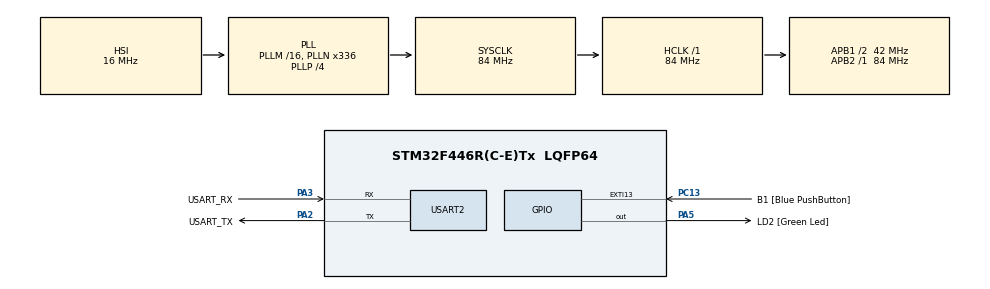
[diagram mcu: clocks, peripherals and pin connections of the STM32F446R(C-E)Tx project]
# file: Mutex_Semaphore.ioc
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FREERTOS.BinarySemaphores01=myBinarySem01,Dynamic,NULL
FREERTOS.Mutexes01=myMutex01,Dynamic,NULL
FREERTOS.Tasks01=defaultTask,0,128,StartDefaultTask,Default,NULL,Dynamic,NULL,NULL
Mcu.Family=STM32F4
Mcu.Name=STM32F446R(C-E)Tx
Mcu.Package=LQFP64
NVIC.PriorityGroup=NVIC_PRIORITYGROUP_4
NVIC.TIM6_DAC_IRQn=true\:15\:0\:false\:false\:true\:false\:false\:true\:true
NVIC.TimeBase=TIM6_DAC_IRQn
NVIC.TimeBaseIP=TIM6
PA13.GPIO_Label=TMS
PA13.Mode=Serial_Wire
PA13.Signal=SYS_JTMS-SWDIO
PA14.GPIO_Label=TCK
PA14.Mode=Serial_Wire
PA14.Signal=SYS_JTCK-SWCLK
PA2.GPIO_Label=USART_TX
PA2.Mode=Asynchronous
PA2.Signal=USART2_TX
PA3.GPIO_Label=USART_RX
PA3.Mode=Asynchronous
PA3.Signal=USART2_RX
PA5.GPIO_Label=LD2 [Green Led]
PA5.Signal=GPIO_Output
PB3.GPIO_Label=SWO
PB3.Signal=SYS_JTDO-SWO
PC13.GPIO_Label=B1 [Blue PushButton]
PC13.GPIO_ModeDefaultEXTI=GPIO_MODE_IT_FALLING
PC13.Signal=GPXTI13
PC14-OSC32_IN.Mode=LSE-External-Oscillator
PC14-OSC32_IN.Signal=RCC_OSC32_IN
PC15-OSC32_OUT.Mode=LSE-External-Oscillator
PC15-OSC32_OUT.Signal=RCC_OSC32_OUT
PH0-OSC_IN.Mode=HSE-External-Oscillator
PH0-OSC_IN.Signal=RCC_OSC_IN
PH1-OSC_OUT.Mode=HSE-External-Oscillator
PH1-OSC_OUT.Signal=RCC_OSC_OUT
ProjectManager.HeapSize=0x200
ProjectManager.StackSize=0x400
ProjectManager.TargetToolchain=STM32CubeIDE
RCC.48MHZClocksFreq_Value=84000000
RCC.AHBFreq_Value=84000000
RCC.APB1CLKDivider=RCC_HCLK_DIV2
RCC.APB1Freq_Value=42000000
RCC.APB1TimFreq_Value=84000000
RCC.APB2Freq_Value=84000000
RCC.APB2TimFreq_Value=84000000
RCC.CortexFreq_Value=84000000
RCC.FLatency-AdvancedSettings=FLASH_LATENCY_2
RCC.HCLKFreq_Value=84000000
RCC.HSE_VALUE=8000000
RCC.HSI_VALUE=16000000
RCC.PLLN=336
RCC.PLLP=RCC_PLLP_DIV4
RCC.SYSCLKFreq_VALUE=84000000
RCC.SYSCLKSource=RCC_SYSCLKSOURCE_PLLCLK
RCC.USBFreq_Value=168000000
RCC.VCOOutputFreq_Value=336000000
USART2.VirtualMode=VM_ASYNC
VP_FREERTOS_VS_CMSIS_V1.Mode=CMSIS_V1
VP_SYS_VS_tim6.Mode=TIM6
board=NUCLEO-F446RE

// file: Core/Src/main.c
/* USER CODE BEGIN Header */
/**
  ******************************************************************************
  * @file           : main.c
  * @brief          : Main program body
  ******************************************************************************
  * @attention
  *
  * Copyright (c) 2022 STMicroelectronics.
  * All rights reserved.
  *
  * This software is licensed under terms that can be found in the LICENSE file
  * in the root directory of this software component.
  * If no LICENSE file comes with this software, it is provided AS-IS.
  *
  ******************************************************************************
  */
/* USER CODE END Header */
#include "main.h"
#include "string.h"
#include "stdio.h"
#include "cmsis_os.h"

UART_HandleTypeDef huart2;

SemaphoreHandle_t SimpleMutex;
SemaphoreHandle_t BinSemaphore;
/* USER CODE BEGIN PV */
TaskHandle_t HPT_Handler;
TaskHandle_t MPT_Handler;
TaskHandle_t LPT_Handler;
TaskHandle_t LLPT_Handler;
/* USER CODE END PV */

void SystemClock_Config(void);
static void MX_GPIO_Init(void);
static void MX_USART2_UART_Init(void);
void HPT_Task(void *argument);
void MPT_Task(void *argument);
void LPT_Task(void *argument);
//void LLPT_Task(void *argument);

/* USER CODE BEGIN 0 */
//void send_uart(char *str)
//{
//	xSemaphoreTake(BinSemaphore, portMAX_DELAY);
//	HAL_Delay(1000);
//	HAL_UART_Transmit(&huart2, (uint8_t *)str, strlen(str), 1000);
//
//	xSemaphoreGive(BinSemaphore);
//}
/* USER CODE END 0 */

int main(void)
{

  /* MCU Configuration--------------------------------------------------------*/

  /* Reset of all peripherals, Initializes the Flash interface and the Systick. */
  HAL_Init();

  /* Configure the system clock */
  SystemClock_Config();

  /* Initialize all configured peripherals */
  MX_GPIO_Init();
  MX_USART2_UART_Init();

  /* Create the mutex(es) */
  /* definition and creation of myMutex01 */

  /* Create the semaphores(s) */
  /* definition and creation of myBinarySem01 */
   SimpleMutex = xSemaphoreCreateMutex();
   if(SimpleMutex != NULL)
   {
	   HAL_UART_Transmit(&huart2, "Mutex Created\n", 16, 1000);
   }
//   BinSemaphore = xSemaphoreCreateBinary();
//   if(BinSemaphore != NULL)
//   {
//	   HAL_UART_Transmit(&huart2, "BinSem Created\n", 16, 1000);
//   }

   xSemaphoreTake(SimpleMutex,1000);

   xTaskCreate(HPT_Task, "HPT", 128, NULL, 3, &HPT_Handler);
   xTaskCreate(MPT_Task, "MPT", 128, NULL, 2, &MPT_Handler);
   xTaskCreate(LPT_Task, "LPT", 128, NULL, 1, &LPT_Handler);
//   xTaskCreate(LLPT_Task, "LLPT", 128, NULL, 1, &LLPT_Handler);

  /* Create the thread(s) */
  /* definition and creation of defaultTask */

  /* Start scheduler */
  vTaskStartScheduler();
  /* We should never get here as control is now taken by the scheduler */
  /* Infinite loop */
  while (1)
  {

  }
}

void SystemClock_Config(void)
{
  RCC_OscInitTypeDef RCC_OscInitStruct = {0};
  RCC_ClkInitTypeDef RCC_ClkInitStruct = {0};

  /** Configure the main internal regulator output voltage
  */
  __HAL_RCC_PWR_CLK_ENABLE();
  __HAL_PWR_VOLTAGESCALING_CONFIG(PWR_REGULATOR_VOLTAGE_SCALE3);

  /** Initializes the RCC Oscillators according to the specified parameters
  * in the RCC_OscInitTypeDef structure.
  */
  RCC_OscInitStruct.OscillatorType = RCC_OSCILLATORTYPE_HSI;
  RCC_OscInitStruct.HSIState = RCC_HSI_ON;
  RCC_OscInitStruct.HSICalibrationValue = RCC_HSICALIBRATION_DEFAULT;
  RCC_OscInitStruct.PLL.PLLState = RCC_PLL_ON;
  RCC_OscInitStruct.PLL.PLLSource = RCC_PLLSOURCE_HSI;
  RCC_OscInitStruct.PLL.PLLM = 16;
  RCC_OscInitStruct.PLL.PLLN = 336;
  RCC_OscInitStruct.PLL.PLLP = RCC_PLLP_DIV4;
  RCC_OscInitStruct.PLL.PLLQ = 2;
  RCC_OscInitStruct.PLL.PLLR = 2;
  if (HAL_RCC_OscConfig(&RCC_OscInitStruct) != HAL_OK)
  {
    Error_Handler();
  }

  /** Initializes the CPU, AHB and APB buses clocks
  */
  RCC_ClkInitStruct.ClockType = RCC_CLOCKTYPE_HCLK|RCC_CLOCKTYPE_SYSCLK
                              |RCC_CLOCKTYPE_PCLK1|RCC_CLOCKTYPE_PCLK2;
  RCC_ClkInitStruct.SYSCLKSource = RCC_SYSCLKSOURCE_PLLCLK;
  RCC_ClkInitStruct.AHBCLKDivider = RCC_SYSCLK_DIV1;
  RCC_ClkInitStruct.APB1CLKDivider = RCC_HCLK_DIV2;
  RCC_ClkInitStruct.APB2CLKDivider = RCC_HCLK_DIV1;

  if (HAL_RCC_ClockConfig(&RCC_ClkInitStruct, FLASH_LATENCY_2) != HAL_OK)
  {
    Error_Handler();
  }
}

static void MX_USART2_UART_Init(void)
{

  huart2.Instance = USART2;
  huart2.Init.BaudRate = 115200;
  huart2.Init.WordLength = UART_WORDLENGTH_8B;
  huart2.Init.StopBits = UART_STOPBITS_1;
  huart2.Init.Parity = UART_PARITY_NONE;
  huart2.Init.Mode = UART_MODE_TX_RX;
  huart2.Init.HwFlowCtl = UART_HWCONTROL_NONE;
  huart2.Init.OverSampling = UART_OVERSAMPLING_16;
  if (HAL_UART_Init(&huart2) != HAL_OK)
  {
    Error_Handler();
  }

}

static void MX_GPIO_Init(void)
{
  GPIO_InitTypeDef GPIO_InitStruct = {0};

  /* GPIO Ports Clock Enable */
  __HAL_RCC_GPIOC_CLK_ENABLE();
  __HAL_RCC_GPIOH_CLK_ENABLE();
  __HAL_RCC_GPIOA_CLK_ENABLE();
  __HAL_RCC_GPIOB_CLK_ENABLE();

  /*Configure GPIO pin Output Level */
  HAL_GPIO_WritePin(LD2_GPIO_Port, LD2_Pin, GPIO_PIN_RESET);

  /*Configure GPIO pin : B1_Pin */
  GPIO_InitStruct.Pin = B1_Pin;
  GPIO_InitStruct.Mode = GPIO_MODE_IT_FALLING;
  GPIO_InitStruct.Pull = GPIO_NOPULL;
  HAL_GPIO_Init(B1_GPIO_Port, &GPIO_InitStruct);

  /*Configure GPIO pin : LD2_Pin */
  GPIO_InitStruct.Pin = LD2_Pin;
  GPIO_InitStruct.Mode = GPIO_MODE_OUTPUT_PP;
  GPIO_InitStruct.Pull = GPIO_NOPULL;
  GPIO_InitStruct.Speed = GPIO_SPEED_FREQ_LOW;
  HAL_GPIO_Init(LD2_GPIO_Port, &GPIO_InitStruct);

}

/* USER CODE BEGIN 4 */
void HPT_Task(void *argument)
{
	//char *str = "HPT Mutex Created\n";
	for(;;)
	{

		char *str1 = "HPT Task Entered Mutex\n";
		HAL_UART_Transmit(&huart2, (uint8_t *)str1, strlen(str1), HAL_MAX_DELAY);
		//send_uart(str);
		char *str2 = "HPT Task Leaving Mutex\n";
		HAL_UART_Transmit(&huart2, (uint8_t *)str2, strlen(str2), HAL_MAX_DELAY);
		xSemaphoreGive(SimpleMutex);
		vTaskDelay(1000);
	}
}
void MPT_Task(void *argument)
{
	//char *str = "MPT Mutex Created\n";
		for(;;)
		{

			char *str1 = "MPT Task Entered Mutex\n";
			HAL_UART_Transmit(&huart2, (uint8_t *)str1, strlen(str1), HAL_MAX_DELAY);
			//send_uart(str);
			char *str2 = "MPT Task Leaving Mutex\n";
			HAL_UART_Transmit(&huart2, (uint8_t *)str2, strlen(str2), HAL_MAX_DELAY);
			xSemaphoreGive(SimpleMutex);
			vTaskDelay(2000);		}
}
void LPT_Task(void *argument)
{
	//char *str = "LPT Mutex Created\n";
			for(;;)
			{
				//xSemaphoreGive(BinSemaphore);
				char *str1 = "LPT Task Entered Mutex\n";
				HAL_UART_Transmit(&huart2, (uint8_t *)str1, strlen(str1), HAL_MAX_DELAY);
				//send_uart(str);
				char *str2 = "LPT Task Leaving Mutex\n";
				HAL_UART_Transmit(&huart2, (uint8_t *)str2, strlen(str2), HAL_MAX_DELAY);
				xSemaphoreGive(SimpleMutex);
				vTaskDelay(3000);
			}
}
//void LLPT_Task(void *argument)
//{
//	char *str = "LLPT Mutex Created\n";
//				for(;;)
//				{
//					char *str1 = "LLPT Task Entered Mutex\n";
//					HAL_UART_Transmit(&huart2, (uint8_t *)str1, strlen(str1), HAL_MAX_DELAY);
//					send_uart(str);
//					char *str2 = "LLPT Task Leaving Mutex\n";
//					HAL_UART_Transmit(&huart2, (uint8_t *)str2, strlen(str2), HAL_MAX_DELAY);
//					vTaskDelay(4000);
//				}
//}
/* USER CODE END 4 */

void HAL_TIM_PeriodElapsedCallback(TIM_HandleTypeDef *htim)
{
  if (htim->Instance == TIM6) {
    HAL_IncTick();
  }
}

void Error_Handler(void)
{
  __disable_irq();
  while (1)
  {
  }
}
